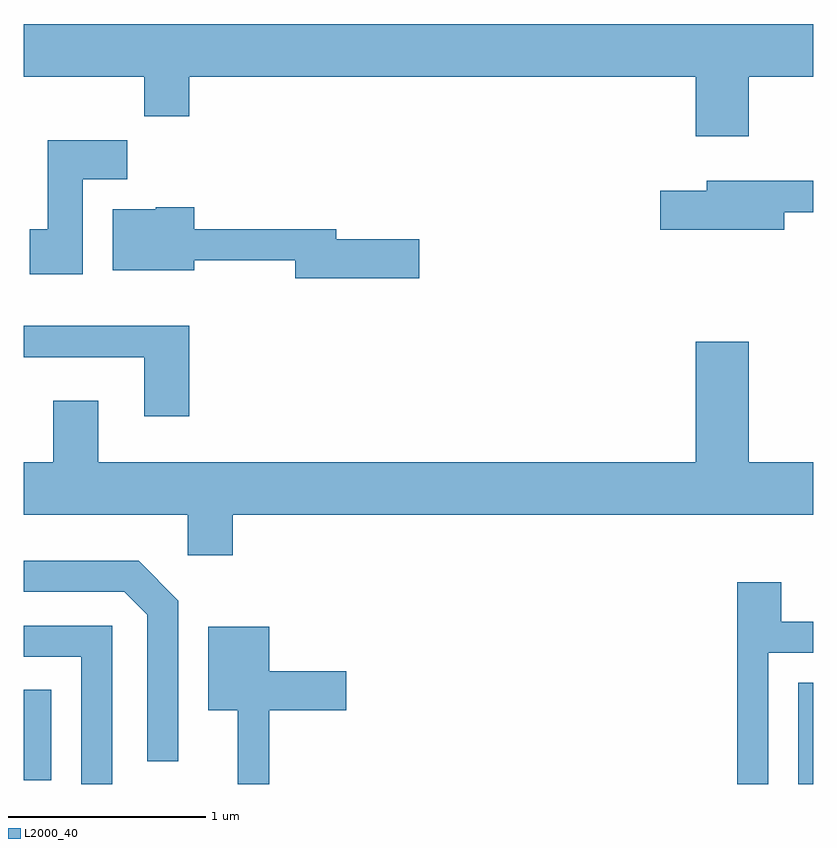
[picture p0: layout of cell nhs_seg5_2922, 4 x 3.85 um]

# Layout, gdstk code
import gdstk
lib = gdstk.Library(unit=1e-6, precision=1e-09)
def R(c, l, rs):  # rectangles x0, y0, x1, y1
    for r in rs: c.add(gdstk.rectangle(r[:2], r[2:], *l))
def P(c, l, *ps):  # polygons
    for p in ps: c.add(gdstk.Polygon(p, *l))
L2000_40 = (2000, 40)

nhs_seg5_2922 = lib.new_cell('nhs_seg5_2922')
R(nhs_seg5_2922, L2000_40, [(275.536,1482.072,275.611,1482.584), (271.611,1482.091,271.749,1482.549)])
P(nhs_seg5_2922, L2000_40, [(275.284,1485.656),(275.611,1485.656),(275.611,1485.924),(271.611,1485.924),(271.611,1485.656),(272.221,1485.656),(272.221,1485.456),(272.449,1485.456),(272.449,1485.656),(275.016,1485.656),(275.016,1485.356),(275.284,1485.356)],
  [(271.909,1485.136),(272.134,1485.136),(272.134,1485.334),(271.731,1485.334),(271.731,1484.884),(271.641,1484.884),(271.641,1484.656),(271.909,1484.656)],
  [(275.464,1484.971),(275.611,1484.971),(275.611,1485.129),(275.071,1485.129),(275.071,1485.079),(274.836,1485.079),(274.836,1484.881),(275.464,1484.881)],
  [(273.614,1484.834),(273.194,1484.834),(273.194,1484.884),(272.474,1484.884),(272.474,1484.994),(272.28,1484.994),(272.28,1484.984),(272.061,1484.984),(272.061,1484.676),(272.474,1484.676),(272.474,1484.726),(272.986,1484.726),(272.986,1484.636),(273.614,1484.636)],
  [(272.449,1484.394),(271.611,1484.394),(271.611,1484.236),(272.221,1484.236),(272.221,1483.936),(272.449,1483.936)],
  [(272.669,1483.436),(275.611,1483.436),(275.611,1483.704),(275.284,1483.704),(275.284,1484.314),(275.016,1484.314),(275.016,1483.704),(271.989,1483.704),(271.989,1484.014),(271.761,1484.014),(271.761,1483.704),(271.611,1483.704),(271.611,1483.436),(272.441,1483.436),(272.441,1483.231),(272.669,1483.231)],
  [(272.394,1483.002),(272.192,1483.204),(271.611,1483.204),(271.611,1483.046),(272.119,1483.046),(272.236,1482.929),(272.236,1482.188),(272.394,1482.188)],
  [(275.384,1482.736),(275.611,1482.736),(275.611,1482.894),(275.449,1482.894),(275.449,1483.094),(275.226,1483.094),(275.226,1482.072),(275.384,1482.072)],
  [(272.059,1482.874),(271.611,1482.874),(271.611,1482.716),(271.901,1482.716),(271.901,1482.072),(272.059,1482.072)],
  [(272.854,1482.446),(273.244,1482.446),(273.244,1482.644),(272.854,1482.644),(272.854,1482.869),(272.546,1482.869),(272.546,1482.446),(272.696,1482.446),(272.696,1482.072),(272.854,1482.072)])

lib.write_gds('nhs_seg5_2922.gds')
